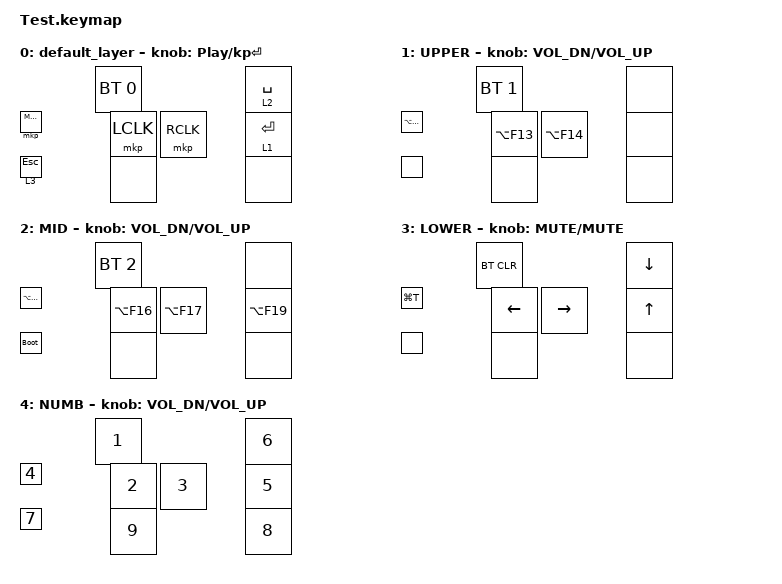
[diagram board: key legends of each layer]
#include <dt-bindings/zmk/mouse.h>
#include <behaviors.dtsi>
#include <dt-bindings/zmk/bt.h>
#include <dt-bindings/zmk/keys.h>
#include <dt-bindings/zmk/pointing.h>

// Leyer
#define UPPER 1
#define MID 2
#define LOWER 3
#define NUMB 4
// #define SCROLL 5
// #define layer_6 6

&mt {
    flavor = "balanced";
    quick-tap-ms = <0>;
};

/ {

    macros {
        to_layer_0: to_layer_0 {
            compatible = "zmk,behavior-macro-one-param";
            #binding-cells = <1>;
            bindings = <&to 0 &macro_param_1to1 &kp MACRO_PLACEHOLDER>;
            label = "TO_LAYER_0";
        };
    };

    behaviors {
        lt_to_layer_0: lt_to_layer_0 {
            compatible = "zmk,behavior-hold-tap";
            label = "LAYER_TAP_TO_0";
            bindings = <&mo>, <&to_layer_0>;
            #binding-cells = <2>;
            tapping-term-ms = <200>;
        };
    };

    keymap {
        compatible = "zmk,keymap";
        default_layer {
            bindings = <
                &bt BT_SEL 0  &mkp LCLK   &lt_to_layer_0 1 ENTER
                &none         &mkp RCLK   &lt_to_layer_0 2 SPACE
                &none         &mkp MCLK   &lt_to_layer_0 3 ESC
            >;
            sensor-bindings = <&inc_dec_kp C_PLAY_PAUSE KP_ENTER>;
        };
        UPPER {
            bindings = <
                &bt BT_SEL 1 &kp LA(F13)   &none
                &none        &kp LA(F14)   &none
                &none        &kp LA(F15)   &none
            >;
            sensor-bindings = <&inc_dec_kp C_VOL_DN C_VOL_UP>;
        };
        MID {
            bindings = <
                &bt BT_SEL 2    &kp LA(F16)   &kp LA(F19)
                &none           &kp LA(F17)   &none
                &none           &kp LA(F18)   &bootloader
            >;
            sensor-bindings = <&inc_dec_kp C_VOL_DN C_VOL_UP>;
        };
        LOWER {
            bindings = <
                &bt BT_CLR      &kp LEFT       &kp UP
                &none           &kp RIGHT      &kp DOWN
                &none           &kp LG(T)      &none
            >;
            sensor-bindings = <&inc_dec_kp C_MUTE C_MUTE>;
        };
        NUMB {
            bindings = <
                &kp N1          &kp N2   &kp N5
                &kp N8          &kp N3   &kp N6
                &kp N9          &kp N4   &kp N7
            >;
            sensor-bindings = <&inc_dec_kp C_VOL_DN C_VOL_UP>;
        };
    };

};
